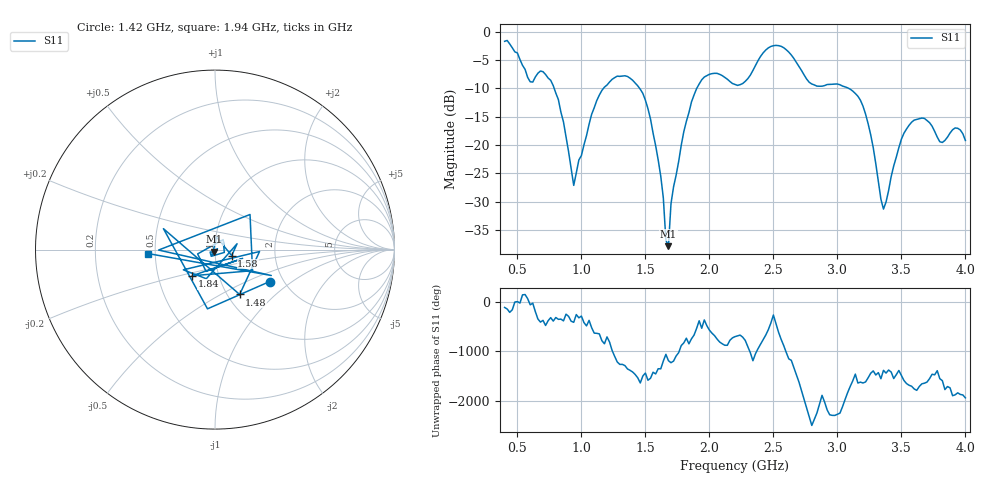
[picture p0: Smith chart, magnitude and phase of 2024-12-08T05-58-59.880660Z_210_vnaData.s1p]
!Created with skrf (http://scikit-rf.org).
# Hz S RI R 50.0
!freq ReS11 ImS11
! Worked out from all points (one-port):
!   181 points, 400 MHz to 4 GHz, reference 50 ohm
!   lowest |S11| = -37.8 dB at 1.68 GHz (marker M1), VSWR 1.03, Z = 49.5 - j1.19 ohm
!   |S11| at or under -10 dB: 787.2 MHz to 1.173 GHz (385.8 MHz wide, 39.4 % of centre); 1.454 GHz to 1.901 GHz (446.8 MHz wide, 26.6 % of centre); 3.087 GHz to end of sweep
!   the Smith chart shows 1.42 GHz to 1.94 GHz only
!   S11 on the Smith chart (normalised r, x): 1.42 GHz: 1.70, -0.69; 1.48 GHz: 1.14, -0.62; 1.58 GHz: 1.20, -0.08; 1.84 GHz: 0.75, -0.23; 1.94 GHz: 0.45, -0.02
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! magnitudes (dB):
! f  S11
! 400 MHz  -1.7
! 600 MHz  -8.8
! 760 MHz  -8.6
! 860 MHz  -15.9
! 940 MHz  -27.1
! 1.12 GHz  -12.2
! 1.3 GHz  -7.9
! 1.42 GHz  -9.1
! 1.48 GHz  -10.9
! 1.58 GHz  -20.1
! 1.64 GHz  -29.3
! 1.66 GHz  -36.7
! 1.68 GHz  -37.8
! 1.7 GHz  -30.3
! 1.76 GHz  -22.9
! 1.84 GHz  -14.3
! 1.94 GHz  -8.5
! 2.2 GHz  -9.3
! 2.48 GHz  -2.6
! 2.66 GHz  -4.7
! 2.8 GHz  -9.2
! 3.1 GHz  -10.2
! 3.22 GHz  -14.5
! 3.36 GHz  -31.3
! 3.5 GHz  -19.0
! 3.56 GHz  -16.5
! 3.68 GHz  -15.3
! 4 GHz  -19.2
